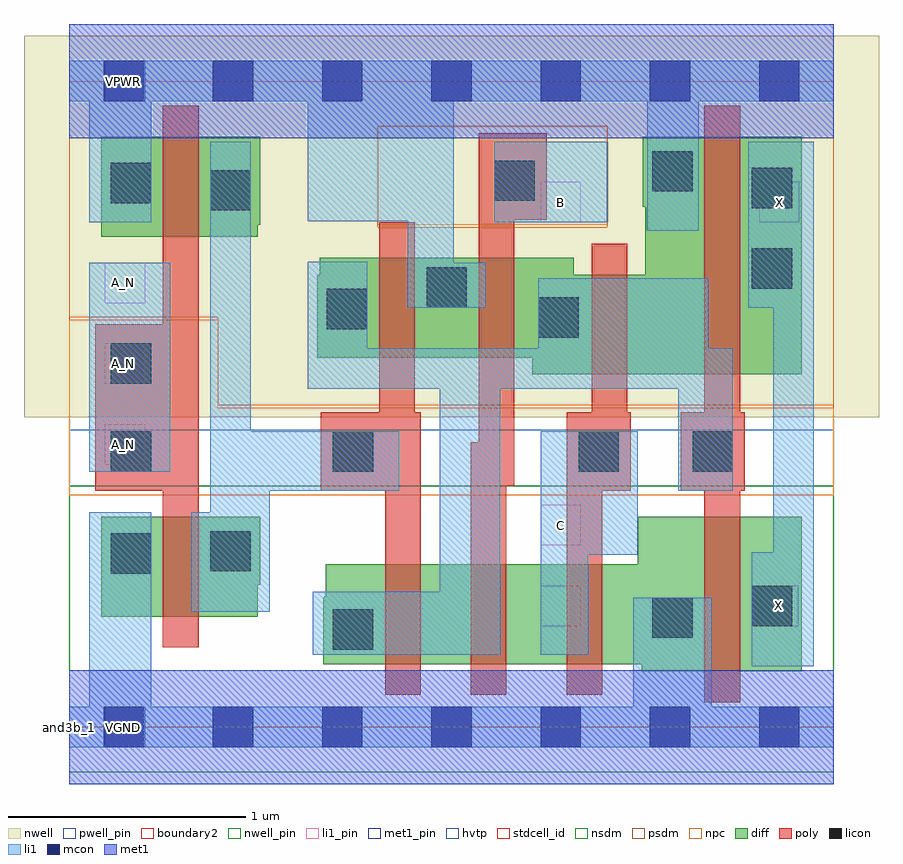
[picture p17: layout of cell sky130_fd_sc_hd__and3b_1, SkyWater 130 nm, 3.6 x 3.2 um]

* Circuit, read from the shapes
.subckt sky130_fd_sc_hd__and3b_1 A_N B C VGND VNB VPB VPWR X
XM1 n1 A_N VGND VNB sky130_fd_pr__nfet_01v8 w=0.42 l=0.15
XM2 n2 n1 n3 VNB sky130_fd_pr__nfet_01v8 w=0.42 l=0.15
XM3 n4 B n2 VNB sky130_fd_pr__nfet_01v8 w=0.42 l=0.15
XM4 VGND C n4 VNB sky130_fd_pr__nfet_01v8 w=0.42 l=0.15
XM5 X n3 VGND VNB sky130_fd_pr__nfet_01v8 w=0.65 l=0.15
XM6 n1 A_N VPWR VPB sky130_fd_pr__pfet_01v8_hvt w=0.42 l=0.15
XM7 VPWR n1 n3 VPB sky130_fd_pr__pfet_01v8_hvt w=0.42 l=0.15
XM8 n3 B VPWR VPB sky130_fd_pr__pfet_01v8_hvt w=0.42 l=0.15
XM9 VPWR C n3 VPB sky130_fd_pr__pfet_01v8_hvt w=0.42 l=0.15
XM10 X n3 VPWR VPB sky130_fd_pr__pfet_01v8_hvt w=1 l=0.15
.ends

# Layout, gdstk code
import gdstk
lib = gdstk.Library(unit=1e-6, precision=1e-09)
def R(c, l, rs):  # rectangles x0, y0, x1, y1
    for r in rs: c.add(gdstk.rectangle(r[:2], r[2:], *l))
def A(c, l, x, y, w, h, nx, ny, dx, dy):  # array of equal rectangles
    R(c, l, [(x+i*dx, y+j*dy, x+i*dx+w, y+j*dy+h) for i in range(nx) for j in range(ny)])
def P(c, l, *ps):  # polygons
    for p in ps: c.add(gdstk.Polygon(p, *l))
nwell_pin = (64, 16)
nwell = (64, 20)
diff = (65, 20)
poly = (66, 20)
licon = (66, 44)
li1_pin = (67, 16)
li1 = (67, 20)
mcon = (67, 44)
met1_pin = (68, 16)
met1 = (68, 20)
hvtp = (78, 44)
stdcell_id = (81, 4)
nsdm = (93, 44)
psdm = (94, 20)
npc = (95, 20)
pwell_pin = (122, 16)
boundary2 = (236, 0)

sky130_fd_sc_hd__and3b_1 = lib.new_cell('sky130_fd_sc_hd__and3b_1')
R(sky130_fd_sc_hd__and3b_1, nwell_pin, [(0.15,2.635,0.32,2.805)])
R(sky130_fd_sc_hd__and3b_1, nwell, [(-0.19,1.305,3.41,2.91)])
P(sky130_fd_sc_hd__and3b_1, diff, [(3.085,0.885),(2.395,0.885),(2.395,0.685),(1.08,0.685),(1.08,0.55),(1.075,0.55),(1.075,0.545),(1.07,0.545),(1.07,0.265),(2.41,0.265),(2.41,0.235),(3.085,0.235)],
  [(3.085,2.485),(2.415,2.485),(2.415,2.19),(2.425,2.19),(2.425,1.905),(2.125,1.905),(2.125,1.975),(1.055,1.975),(1.055,1.905),(1.045,1.905),(1.045,1.555),(1.95,1.555),(1.95,1.485),(3.085,1.485)],
  [(0.805,0.885),(0.135,0.885),(0.135,0.465),(0.795,0.465),(0.795,0.6),(0.805,0.6)],
  [(0.805,2.485),(0.135,2.485),(0.135,2.065),(0.795,2.065),(0.795,2.115),(0.805,2.115)])
R(sky130_fd_sc_hd__and3b_1, poly, [(2.675,0.105,2.825,0.995), (2.575,0.995,2.845,1.325), (1.305,1.325,1.455,2.125), (2.675,1.325,2.825,2.615)])
P(sky130_fd_sc_hd__and3b_1, poly, [(2.365,1.325),(2.35,1.325),(2.35,2.035),(2.2,2.035),(2.2,1.325),(2.095,1.325),(2.095,0.135),(2.245,0.135),(2.245,0.995),(2.365,0.995)],
  [(2.01,2.5),(1.725,2.5),(1.725,1.2),(1.69,1.2),(1.69,0.135),(1.84,0.135),(1.84,1.015),(1.875,1.015),(1.875,2.135),(2.01,2.135)],
  [(1.48,1.325),(1.06,1.325),(1.06,0.995),(1.33,0.995),(1.33,0.135),(1.48,0.135)],
  [(0.545,2.615),(0.395,2.615),(0.395,1.695),(0.11,1.695),(0.11,0.995),(0.395,0.995),(0.395,0.335),(0.545,0.335)])
R(sky130_fd_sc_hd__and3b_1, licon, [(1.11,0.325,1.28,0.495), (2.455,0.375,2.625,0.545), (2.875,0.425,3.045,0.595), (0.175,0.645,0.345,0.815), (0.595,0.655,0.765,0.825), (0.175,1.075,0.345,1.245), (1.11,1.075,1.28,1.245), (2.145,1.075,2.315,1.245), (2.625,1.075,2.795,1.245), (0.175,1.445,0.345,1.615), (1.975,1.64,2.145,1.81), (1.085,1.675,1.255,1.845), (1.505,1.765,1.675,1.935), (2.875,1.845,3.045,2.015), (0.595,2.175,0.765,2.345), (2.875,2.185,3.045,2.355), (0.175,2.205,0.345,2.375), (1.79,2.215,1.96,2.385), (2.455,2.255,2.625,2.425)])
A(sky130_fd_sc_hd__and3b_1, li1_pin, 0.15, 1.105, 0.17, 0.17, 1, 3, 0, 0.34)
R(sky130_fd_sc_hd__and3b_1, li1_pin, [(1.985,0.425,2.155,0.595), (2.9,0.425,3.07,0.595), (1.985,0.765,2.155,0.935), (1.985,2.125,2.155,2.295), (2.905,2.125,3.075,2.295)])
R(sky130_fd_sc_hd__and3b_1, li1, [(0.085,1.075,0.425,1.955), (1.79,2.125,2.265,2.465)])
P(sky130_fd_sc_hd__and3b_1, li1, [(3.22,2.805),(0,2.805),(0,2.635),(0.085,2.635),(0.085,2.125),(0.345,2.125),(0.345,2.635),(1.005,2.635),(1.005,2.13),(1.425,2.13),(1.425,1.765),(1.755,1.765),(1.755,1.955),(1.62,1.955),(1.62,2.635),(2.435,2.635),(2.435,2.09),(2.65,2.09),(2.65,2.635),(3.22,2.635)],
  [(3.135,2.465),(2.86,2.465),(2.86,1.765),(2.965,1.765),(2.965,0.735),(2.875,0.735),(2.875,0.255),(3.135,0.255)],
  [(2.795,1.595),(2.69,1.595),(2.69,1.89),(1.975,1.89),(1.975,1.595),(1.255,1.595),(1.255,1.96),(1.005,1.96),(1.005,1.425),(1.56,1.425),(1.56,0.57),(1.025,0.57),(1.025,0.305),(1.815,0.305),(1.815,1.425),(2.565,1.425),(2.565,0.995),(2.795,0.995)],
  [(1.985,0.305),(1.985,1.245),(2.395,1.245),(2.395,0.725),(2.185,0.725),(2.185,0.305)],
  [(1.39,1.245),(0.765,1.245),(0.765,2.465),(0.595,2.465),(0.595,0.905),(0.515,0.905),(0.515,0.485),(0.845,0.485),(0.845,0.995),(1.39,0.995)],
  [(3.22,0.085),(2.705,0.085),(2.705,0.545),(2.375,0.545),(2.375,0.085),(0.345,0.085),(0.345,0.905),(0.085,0.905),(0.085,0.085),(0,0.085),(0,-0.085),(3.22,-0.085)])
A(sky130_fd_sc_hd__and3b_1, mcon, 0.145, -0.085, 0.17, 0.17, 7, 2, 0.46, 2.72)
R(sky130_fd_sc_hd__and3b_1, met1_pin, [(0.15,-0.085,0.32,0.085), (0.15,2.635,0.32,2.805)])
R(sky130_fd_sc_hd__and3b_1, hvtp, [(0,1.25,3.22,2.72)])
R(sky130_fd_sc_hd__and3b_1, stdcell_id, [(0,0,3.22,2.72)])
R(sky130_fd_sc_hd__and3b_1, nsdm, [(0,-0.19,3.22,1.015)])
P(sky130_fd_sc_hd__and3b_1, psdm, [(3.22,2.91),(2.265,2.91),(2.265,2.105),(1.3,2.105),(1.3,2.53),(2.265,2.53),(2.265,2.91),(0,2.91),(0,1.725),(0.625,1.725),(0.625,1.355),(3.22,1.355)])
R(sky130_fd_sc_hd__and3b_1, npc, [(1.3,2.115,2.265,2.53)])
P(sky130_fd_sc_hd__and3b_1, npc, [(3.22,1.345),(0.625,1.345),(0.625,1.715),(0,1.715),(0,0.975),(3.22,0.975)])
R(sky130_fd_sc_hd__and3b_1, pwell_pin, [(0.15,-0.085,0.32,0.085)])
R(sky130_fd_sc_hd__and3b_1, boundary2, [(0,0,3.22,2.72)])
sky130_fd_sc_hd__and3b_1.add(gdstk.FlexPath([(0,2.72),(3.22,2.72)], 0.48, ends="flush", simple_path=True, layer=68, datatype=20))  # met1
sky130_fd_sc_hd__and3b_1.add(gdstk.FlexPath([(0,0),(3.22,0)], 0.48, ends="flush", simple_path=True, layer=68, datatype=20))  # met1
sky130_fd_sc_hd__and3b_1.add(gdstk.Label('A_N', (0.23,1.53), layer=67, texttype=5))
sky130_fd_sc_hd__and3b_1.add(gdstk.Label('B', (2.07,2.21), layer=67, texttype=5))
sky130_fd_sc_hd__and3b_1.add(gdstk.Label('X', (2.99,2.21), layer=67, texttype=5))
sky130_fd_sc_hd__and3b_1.add(gdstk.Label('C', (2.07,0.85), layer=67, texttype=5))
sky130_fd_sc_hd__and3b_1.add(gdstk.Label('A_N', (0.23,1.19), layer=67, texttype=5))
sky130_fd_sc_hd__and3b_1.add(gdstk.Label('X', (2.985,0.51), layer=67, texttype=5))
sky130_fd_sc_hd__and3b_1.add(gdstk.Label('A_N', (0.23,1.87), layer=67, texttype=5))
sky130_fd_sc_hd__and3b_1.add(gdstk.Label('VGND', (0.23,0), layer=68, texttype=5))
sky130_fd_sc_hd__and3b_1.add(gdstk.Label('VPWR', (0.23,2.72), layer=68, texttype=5))
sky130_fd_sc_hd__and3b_1.add(gdstk.Label('VPB', (0.235,2.72), layer=64, texttype=5))
sky130_fd_sc_hd__and3b_1.add(gdstk.Label('VNB', (0.235,0), layer=64, texttype=59))
sky130_fd_sc_hd__and3b_1.add(gdstk.Label('and3b_1', (0,0), layer=83, texttype=44))

lib.write_gds('sky130_fd_sc_hd__and3b_1.gds')
